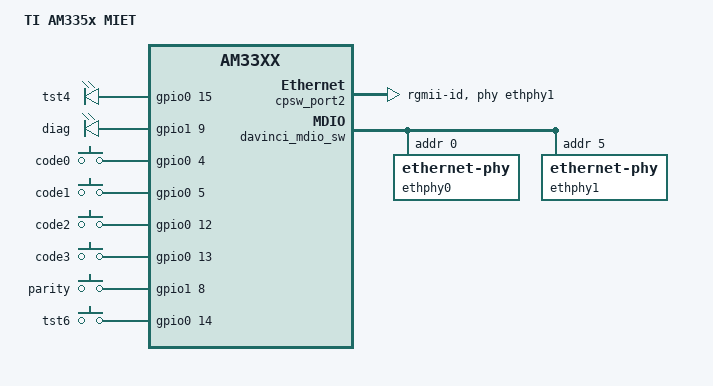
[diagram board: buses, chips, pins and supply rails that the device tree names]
// SPDX-License-Identifier: GPL-2.0-only
/*
 * Copyright (C) 2012 Texas Instruments Incorporated - http://www.ti.com/
 */
/dts-v1/;

#include "am335x-boneblack.dts"

/ {
	model = "TI AM335x MIET";
	compatible = "ti,am335x-miet", "ti,am335x-bone", "ti,am33xx";

	/* am335x-bone-common.dtsi */

	/* У нас светодиодов нет, поэтому просто используем как OUTPUT */
	leds {
		/delete-node/ led2;
		/delete-node/ led3;
		/delete-node/ led4;
		/delete-node/ led5;

		led2 {
			label = "tst4";
			gpios = <&gpio0 15 GPIO_ACTIVE_HIGH>;
			default-state = "off";
		};

		led3 {
			label = "diag";
			gpios = <&gpio1 9 GPIO_ACTIVE_HIGH>;
			default-state = "off";
		};
	};

	/* тут у нас будут "кнопки", которые будут показывать наличие сигнала в INPUT */
	/* код БУПД и TST6 */
	gpio_buttons: gpio_buttons0 {
		compatible = "gpio-keys";
		#address-cells = <1>;
		#size-cells = <0>;

		code0 {
			label = "code0";
			linux,code = <0x100>;
			gpios = <&gpio0 4 GPIO_ACTIVE_HIGH>;
		};

		code1 {
			label = "code1";
			linux,code = <0x101>;
			gpios = <&gpio0 5 GPIO_ACTIVE_HIGH>;
		};

		code2 {
			label = "code2";
			linux,code = <0x102>;
			gpios = <&gpio0 12 GPIO_ACTIVE_HIGH>;
		};

		code3 {
			label = "code3";
			linux,code = <0x103>;
			gpios = <&gpio0 13 GPIO_ACTIVE_HIGH>;
		};

		parity {
			label = "parity";
			linux,code = <0x104>;
			gpios = <&gpio1 8 GPIO_ACTIVE_HIGH>;
		};

		tst6 {
			label = "tst6";
			linux,code = <0x105>;
			gpios = <&gpio0 14 GPIO_ACTIVE_HIGH>;
		};
	};

	/* am335x-boneblack-common.dtsi */
	sound {
		status = "disabled";
	};
};

/* am335x-bone-common.dtsi */


&am33xx_pinmux {
	pinctrl-0 = <&gpio_keys_pins &clkout2_pin>;

	/delete-node/ user_leds_s0;

	user_leds_s0: user_leds_s0 {
		pinctrl-single,pins = <
			AM33XX_PADCONF(AM335X_PIN_UART1_TXD, PIN_OUTPUT_PULLDOWN, MUX_MODE7) /* gpio0_15 */
			AM33XX_PADCONF(AM335X_PIN_UART0_RTSN, PIN_OUTPUT_PULLDOWN, MUX_MODE7) /* gpio1_9 */
		>;
	};

	gpio_keys_pins: gpio_keys_pins {
	 	pinctrl-single,pins = <
			AM33XX_PADCONF(AM335X_PIN_SPI0_D1, PIN_INPUT_PULLDOWN, MUX_MODE7)	/* gpio0_4 */
			AM33XX_PADCONF(AM335X_PIN_SPI0_CS0, PIN_INPUT_PULLDOWN, MUX_MODE7)	/* gpio0_5 */
			AM33XX_PADCONF(AM335X_PIN_UART1_CTSN, PIN_INPUT_PULLDOWN, MUX_MODE7) /* gpio0_12 */
			AM33XX_PADCONF(AM335X_PIN_UART1_RTSN, PIN_INPUT_PULLDOWN, MUX_MODE7) /* gpio0_13 */
			AM33XX_PADCONF(AM335X_PIN_UART0_CTSN, PIN_INPUT_PULLDOWN, MUX_MODE7) /* gpio1_8 */
			AM33XX_PADCONF(AM335X_PIN_UART1_RXD, PIN_INPUT_PULLDOWN, MUX_MODE7) /* gpio0_14 */
		>;
	};
};

&cpsw_default {
	pinctrl-single,pins = <
		/* Slave 1 - оставлено от BBB */
		AM33XX_PADCONF(AM335X_PIN_MII1_RX_ER, PIN_INPUT_PULLUP, MUX_MODE0)
		AM33XX_PADCONF(AM335X_PIN_MII1_TX_EN, PIN_OUTPUT_PULLDOWN, MUX_MODE0)
		AM33XX_PADCONF(AM335X_PIN_MII1_RX_DV, PIN_INPUT_PULLUP, MUX_MODE0)
		AM33XX_PADCONF(AM335X_PIN_MII1_TXD3, PIN_OUTPUT_PULLDOWN, MUX_MODE0)
		AM33XX_PADCONF(AM335X_PIN_MII1_TXD2, PIN_OUTPUT_PULLDOWN, MUX_MODE0)
		AM33XX_PADCONF(AM335X_PIN_MII1_TXD1, PIN_OUTPUT_PULLDOWN, MUX_MODE0)
		AM33XX_PADCONF(AM335X_PIN_MII1_TXD0, PIN_OUTPUT_PULLDOWN, MUX_MODE0)
		AM33XX_PADCONF(AM335X_PIN_MII1_TX_CLK, PIN_INPUT_PULLUP, MUX_MODE0)
		AM33XX_PADCONF(AM335X_PIN_MII1_RX_CLK, PIN_INPUT_PULLUP, MUX_MODE0)
		AM33XX_PADCONF(AM335X_PIN_MII1_RXD3, PIN_INPUT_PULLUP, MUX_MODE0)
		AM33XX_PADCONF(AM335X_PIN_MII1_RXD2, PIN_INPUT_PULLUP, MUX_MODE0)
		AM33XX_PADCONF(AM335X_PIN_MII1_RXD1, PIN_INPUT_PULLUP, MUX_MODE0)
		AM33XX_PADCONF(AM335X_PIN_MII1_RXD0, PIN_INPUT_PULLUP, MUX_MODE0)

		/* Slave 2 - скопировано из EVM SK */
		AM33XX_PADCONF(AM335X_PIN_GPMC_A0, PIN_OUTPUT_PULLDOWN, MUX_MODE2)	/* gpmc_a0.rgmii2_tctl */
		AM33XX_PADCONF(AM335X_PIN_GPMC_A1, PIN_INPUT_PULLDOWN, MUX_MODE2)	/* gpmc_a1.rgmii2_rctl */
		AM33XX_PADCONF(AM335X_PIN_GPMC_A2, PIN_OUTPUT_PULLDOWN, MUX_MODE2)	/* gpmc_a2.rgmii2_td3 */
		AM33XX_PADCONF(AM335X_PIN_GPMC_A3, PIN_OUTPUT_PULLDOWN, MUX_MODE2)	/* gpmc_a3.rgmii2_td2 */
		AM33XX_PADCONF(AM335X_PIN_GPMC_A4, PIN_OUTPUT_PULLDOWN, MUX_MODE2)	/* gpmc_a4.rgmii2_td1 */
		AM33XX_PADCONF(AM335X_PIN_GPMC_A5, PIN_OUTPUT_PULLDOWN, MUX_MODE2)	/* gpmc_a5.rgmii2_td0 */
		AM33XX_PADCONF(AM335X_PIN_GPMC_A6, PIN_OUTPUT_PULLDOWN, MUX_MODE2)	/* gpmc_a6.rgmii2_tclk */
		AM33XX_PADCONF(AM335X_PIN_GPMC_A7, PIN_INPUT_PULLDOWN, MUX_MODE2)	/* gpmc_a7.rgmii2_rclk */
		AM33XX_PADCONF(AM335X_PIN_GPMC_A8, PIN_INPUT_PULLDOWN, MUX_MODE2)	/* gpmc_a8.rgmii2_rd3 */
		AM33XX_PADCONF(AM335X_PIN_GPMC_A9, PIN_INPUT_PULLDOWN, MUX_MODE2)	/* gpmc_a9.rgmii2_rd2 */
		AM33XX_PADCONF(AM335X_PIN_GPMC_A10, PIN_INPUT_PULLDOWN, MUX_MODE2)	/* gpmc_a10.rgmii2_rd1 */
		AM33XX_PADCONF(AM335X_PIN_GPMC_A11, PIN_INPUT_PULLDOWN, MUX_MODE2)	/* gpmc_a11.rgmii2_rd0 */
	>;
};

&cpsw_sleep {
	pinctrl-single,pins = <
		/* Slave 1 reset value - аналогично */
		AM33XX_PADCONF(AM335X_PIN_MII1_RX_ER, PIN_INPUT_PULLDOWN, MUX_MODE7)
		AM33XX_PADCONF(AM335X_PIN_MII1_TX_EN, PIN_INPUT_PULLDOWN, MUX_MODE7)
		AM33XX_PADCONF(AM335X_PIN_MII1_RX_DV, PIN_INPUT_PULLDOWN, MUX_MODE7)
		AM33XX_PADCONF(AM335X_PIN_MII1_TXD3, PIN_INPUT_PULLDOWN, MUX_MODE7)
		AM33XX_PADCONF(AM335X_PIN_MII1_TXD2, PIN_INPUT_PULLDOWN, MUX_MODE7)
		AM33XX_PADCONF(AM335X_PIN_MII1_TXD1, PIN_INPUT_PULLDOWN, MUX_MODE7)
		AM33XX_PADCONF(AM335X_PIN_MII1_TXD0, PIN_INPUT_PULLDOWN, MUX_MODE7)
		AM33XX_PADCONF(AM335X_PIN_MII1_TX_CLK, PIN_INPUT_PULLDOWN, MUX_MODE7)
		AM33XX_PADCONF(AM335X_PIN_MII1_RX_CLK, PIN_INPUT_PULLDOWN, MUX_MODE7)
		AM33XX_PADCONF(AM335X_PIN_MII1_RXD3, PIN_INPUT_PULLDOWN, MUX_MODE7)
		AM33XX_PADCONF(AM335X_PIN_MII1_RXD2, PIN_INPUT_PULLDOWN, MUX_MODE7)
		AM33XX_PADCONF(AM335X_PIN_MII1_RXD1, PIN_INPUT_PULLDOWN, MUX_MODE7)
		AM33XX_PADCONF(AM335X_PIN_MII1_RXD0, PIN_INPUT_PULLDOWN, MUX_MODE7)
		
		/* Slave 2 reset value - аналогично */
		AM33XX_PADCONF(AM335X_PIN_GPMC_A0, PIN_INPUT_PULLDOWN, MUX_MODE7)
		AM33XX_PADCONF(AM335X_PIN_GPMC_A1, PIN_INPUT_PULLDOWN, MUX_MODE7)
		AM33XX_PADCONF(AM335X_PIN_GPMC_A2, PIN_INPUT_PULLDOWN, MUX_MODE7)
		AM33XX_PADCONF(AM335X_PIN_GPMC_A3, PIN_INPUT_PULLDOWN, MUX_MODE7)
		AM33XX_PADCONF(AM335X_PIN_GPMC_A4, PIN_INPUT_PULLDOWN, MUX_MODE7)
		AM33XX_PADCONF(AM335X_PIN_GPMC_A5, PIN_INPUT_PULLDOWN, MUX_MODE7)
		AM33XX_PADCONF(AM335X_PIN_GPMC_A6, PIN_INPUT_PULLDOWN, MUX_MODE7)
		AM33XX_PADCONF(AM335X_PIN_GPMC_A7, PIN_INPUT_PULLDOWN, MUX_MODE7)
		AM33XX_PADCONF(AM335X_PIN_GPMC_A8, PIN_INPUT_PULLDOWN, MUX_MODE7)
		AM33XX_PADCONF(AM335X_PIN_GPMC_A9, PIN_INPUT_PULLDOWN, MUX_MODE7)
		AM33XX_PADCONF(AM335X_PIN_GPMC_A10, PIN_INPUT_PULLDOWN, MUX_MODE7)
		AM33XX_PADCONF(AM335X_PIN_GPMC_A11, PIN_INPUT_PULLDOWN, MUX_MODE7)
	>;
};

/* добавлен второй (гигабитный) ethernet */
&cpsw_port2 {
	status = "okay";
	phy-handle = <&ethphy1>;
	phy-mode = "rgmii-id";
	ti,dual-emac-pvid = <2>;
};

&davinci_mdio_sw {
	/* адрес как в оригинальном BBB */
	ethphy0: ethernet-phy@0 {
		reg = <0>;
		/* у нас, конечно, подключение напрямую к коммутатору и линк должен быть всегда,
		но всё же навсяк отключаем эту фичу */
		smsc,disable-energy-detect;
	};

	/* добавлен гигабитный порт на 5 адресе */
	ethphy1: ethernet-phy@1 {
		reg = <5>;
		/* отключение EEE так как с ним линк работает нестабильно и теряются пакеты */
		eee-broken-100tx;
		eee-broken-1000t;
		/* disable at803x PHY smart eee by default */
		qca,disable-smarteee;
		/* можно тут ограничить скорость, но тогда
		с помощью ethtool обратно до 1G её уже будет не поднять */ 
		/*max-speed = <100>;*/
	};
};

&baseboard_eeprom {
	compatible = "atmel,24c32";
	pagesize = <32>;
};

&mmc3 {
	/* mmc3 у нас нет, поэтому чтобы в dmesg не ругалось отключаем */
	status = "disabled";
};

/* USB у нас нет */ 
&usb {
	status = "disabled";
};

&usb_ctrl_mod {
	status = "disabled";
};

&usb0_phy {
	status = "disabled";
};

&usb1_phy {
	status = "disabled";
};

&usb0 {
	status = "disabled";
};

&usb1 {
	status = "disabled";
};

&lcdc {
	status = "disabled";
};

/* i2c0 - в работе: eeprom и плата питания, остальное нет */
&i2c1 {
	status = "disabled";
};

&i2c2 {
	status = "disabled";
};

&mcasp0 {
    status = "disabled";
};
